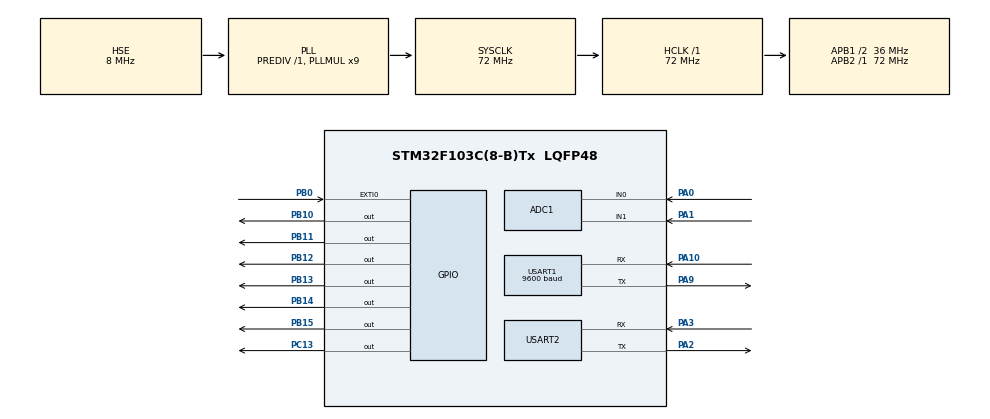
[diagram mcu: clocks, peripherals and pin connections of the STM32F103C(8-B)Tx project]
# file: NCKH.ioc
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ADC1.Channel-0\#ChannelRegularConversion=ADC_CHANNEL_0
ADC1.ContinuousConvMode=DISABLE
ADC1.NbrOfConversionFlag=1
ADC1.Rank-0\#ChannelRegularConversion=1
ADC1.SamplingTime-0\#ChannelRegularConversion=ADC_SAMPLETIME_239CYCLES_5
ADC1.master=1
Mcu.Family=STM32F1
Mcu.Name=STM32F103C(8-B)Tx
Mcu.Package=LQFP48
NVIC.EXTI0_IRQn=true\:0\:0\:false\:false\:true\:true\:true
NVIC.PriorityGroup=NVIC_PRIORITYGROUP_4
NVIC.USART1_IRQn=true\:0\:0\:false\:false\:true\:true\:true
PA0-WKUP.Signal=ADCx_IN0
PA1.Signal=ADCx_IN1
PA10.Mode=Asynchronous
PA10.Signal=USART1_RX
PA13.Mode=Serial_Wire
PA13.Signal=SYS_JTMS-SWDIO
PA14.Mode=Serial_Wire
PA14.Signal=SYS_JTCK-SWCLK
PA2.Mode=Asynchronous
PA2.Signal=USART2_TX
PA3.Mode=Asynchronous
PA3.Signal=USART2_RX
PA9.Mode=Asynchronous
PA9.Signal=USART1_TX
PB0.GPIO_ModeDefaultEXTI=GPIO_MODE_IT_FALLING
PB0.GPIO_PuPd=GPIO_PULLUP
PB0.Signal=GPXTI0
PB10.Signal=GPIO_Output
PB11.Signal=GPIO_Output
PB12.Signal=GPIO_Output
PB13.Signal=GPIO_Output
PB14.PinState=GPIO_PIN_RESET
PB14.Signal=GPIO_Output
PB15.Signal=GPIO_Output
PC13-TAMPER-RTC.PinState=GPIO_PIN_SET
PC13-TAMPER-RTC.Signal=GPIO_Output
PD0-OSC_IN.Mode=HSE-External-Oscillator
PD0-OSC_IN.Signal=RCC_OSC_IN
PD1-OSC_OUT.Mode=HSE-External-Oscillator
PD1-OSC_OUT.Signal=RCC_OSC_OUT
ProjectManager.HeapSize=0x200
ProjectManager.StackSize=0x400
ProjectManager.TargetToolchain=STM32CubeIDE
RCC.ADCPresc=RCC_ADCPCLK2_DIV6
RCC.AHBFreq_Value=72000000
RCC.APB1CLKDivider=RCC_HCLK_DIV2
RCC.APB1Freq_Value=36000000
RCC.APB1TimFreq_Value=72000000
RCC.APB2Freq_Value=72000000
RCC.APB2TimFreq_Value=72000000
RCC.HCLKFreq_Value=72000000
RCC.PLLMUL=RCC_PLL_MUL9
RCC.PLLSourceVirtual=RCC_PLLSOURCE_HSE
RCC.SYSCLKFreq_VALUE=72000000
RCC.SYSCLKSource=RCC_SYSCLKSOURCE_PLLCLK
RCC.USBFreq_Value=72000000
SH.ADCx_IN0.0=ADC1_IN0,IN0
SH.ADCx_IN1.0=ADC1_IN1,IN1
TIM1.Prescaler=71
USART1.BaudRate=9600
USART1.VirtualMode=VM_ASYNC
USART2.VirtualMode=VM_ASYNC
VP_TIM1_VS_ClockSourceINT.Mode=Internal
board=custom

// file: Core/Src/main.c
/* USER CODE BEGIN Header */
/**
  ******************************************************************************
  * @file           : main.c
  * @brief          : Main program body
  ******************************************************************************
  * @attention
  *
  * <h2><center>&copy; Copyright (c) 2025 STMicroelectronics.
  * All rights reserved.</center></h2>
  *
  * This software component is licensed by ST under BSD 3-Clause license,
  * the "License"; You may not use this file except in compliance with the
  * License. You may obtain a copy of the License at:
  *                        opensource.org/licenses/BSD-3-Clause
  *
  ******************************************************************************
  */
/* USER CODE END Header */
#include "main.h"

/* USER CODE BEGIN Includes */

#include "string.h"
#include "stdio.h"
#include "DHT11.h"

/* USER CODE END Includes */

/* USER CODE BEGIN PD */

#define DHT11_PORT 		GPIOB
#define DHT11_PIN  		GPIO_PIN_14

#define RELAY1_PORT 	GPIOB
#define RELAY1_PIN  	GPIO_PIN_12 	// Van Zone 1

#define RELAY2_PORT 	GPIOB
#define RELAY2_PIN  	GPIO_PIN_13 	// Van Zone 2

#define RELAY3_PORT 	GPIOB
#define RELAY3_PIN  	GPIO_PIN_15 	// Pump

#define LED_PORT 		GPIOC
#define LED_PIN  		GPIO_PIN_13    	// Test Debug

#define RELAY_ON   		GPIO_PIN_RESET
#define RELAY_OFF  		GPIO_PIN_SET

#define LORA_AUX_PORT 	GPIOB
#define LORA_AUX_PIN  	GPIO_PIN_0

#define LORA_M0_PORT 	GPIOB
#define LORA_M0_PIN  	GPIO_PIN_10

#define LORA_M1_PORT 	GPIOB
#define LORA_M1_PIN  	GPIO_PIN_11

/* USER CODE END PD */

/* USER CODE BEGIN PM */

#define FRAME_TIMEOUT_MS 	1000

/* USER CODE END PM */

ADC_HandleTypeDef hadc1;

TIM_HandleTypeDef htim1;

UART_HandleTypeDef huart1;
UART_HandleTypeDef huart2;

/* USER CODE BEGIN PV */

DHT11_DataTypedef DHT11;

uint16_t temp = 0, humi = 0;
float sm1 = 0, sm2 = 0;  		// Soil Moisture
uint16_t adc_val;        		// ADC default: 12 bit

uint32_t last_readSoil = 0;
uint32_t last_readDHT = 0;
uint32_t last_cmd_time = 0;

char tx_buff[128];
char ack_buff[40];
char rx_buff[128];
uint8_t rx_data;

volatile uint8_t idx = 0;
volatile uint8_t frame_receive = 0;
volatile uint8_t frame_ready = 0;

//======== NODE STATE MACHINE ========

uint32_t wakeStart = 0;
volatile uint8_t lora_wakeup_flag = 0;

/* USER CODE END PV */

void SystemClock_Config(void);
static void MX_GPIO_Init(void);
static void MX_TIM1_Init(void);
static void MX_USART1_UART_Init(void);
static void MX_ADC1_Init(void);
static void MX_USART2_UART_Init(void);
/* USER CODE BEGIN PFP */

static void Pump_Update(void);

static void Process_Frame(char *frame);
static void Process_Request(char *frame);
static void Process_Command(char *cmd);
static uint8_t Wait_For_Frame(uint32_t timeout);

static void send_Data(uint32_t seq, float t, float h, float sm1, float sm2);
static void send_ACK(uint32_t seq);

static uint16_t read_ADC(uint32_t channel);
static void read_Sensors(void);

static void Enter_Stop_Mode(void);

static uint8_t LoRa_WaitReady(uint32_t timeout);
static void LoRa_SetNormalMode(void);
static void LoRa_SetPowerSavingMode(void);

static void Debug_Print(const char *msg);

/* USER CODE END PFP */

int main(void)
{

  /* MCU Configuration--------------------------------------------------------*/

  /* Reset of all peripherals, Initializes the Flash interface and the Systick. */
  HAL_Init();

  /* Configure the system clock */
  SystemClock_Config();

  /* Initialize all configured peripherals */
  MX_GPIO_Init();
  MX_TIM1_Init();
  MX_USART1_UART_Init();
  MX_ADC1_Init();
  MX_USART2_UART_Init();
  /* USER CODE BEGIN 2 */

  DHT11_Init(&DHT11, &htim1, DHT11_PORT, DHT11_PIN);

  HAL_UART_Receive_IT(&huart1, &rx_data, 1);

  Debug_Print("\r\n====================\r\n");
  Debug_Print("STM32 NODE START\r\n");
  Debug_Print("====================\r\n");

  /* USER CODE END 2 */

  /* Infinite loop */
  /* USER CODE BEGIN WHILE */
  while (1)
  {
	    /* =====================================
	     * 1. E32 → POWER-SAVING
	     * ===================================== */

	  	Debug_Print("[POWER] E32 -> POWER SAVING\r\n");
	    LoRa_SetPowerSavingMode();

	    if (!LoRa_WaitReady(100))
	    {
	    	/* Nếu E32 chưa ready, không được STOP */
	        Debug_Print("[ERROR] E32 POWER SAVING NOT READY\r\n");
	        continue;
	    }

	    /* =====================================
	     * 2. STM32 → STOP
	     * ===================================== */

	    Debug_Print("[POWER] Enter STM32 STOP\r\n");
	    Enter_Stop_Mode();

	    /* =====================================
	     * 3. AUX WAKE
	     * ===================================== */

	    if (!lora_wakeup_flag)
	    {
	    	Debug_Print("[WAKE] Wake source NOT LoRa AUX\r\n");
	        continue;
	    }

	    Debug_Print("[AUX] LoRa AUX wake detected\r\n");

	    /* =====================================
	     * 4. WAIT LoRa UART FRAME
	     * (E32 TXD → STM32 USART1)
	     * ===================================== */

	    if (!Wait_For_Frame(FRAME_TIMEOUT_MS))
	    {
	        /* Wake nhưng không nhận đủ frame */
	    	Debug_Print("[ERROR] UART1 FRAME TIMEOUT\r\n");
	        continue;
	    }

	    Debug_Print("[UART1] Frame received: ");
	    Debug_Print(rx_buff);
	    Debug_Print("\r\n");

	    /* =====================================
	     * 5. PROCESS REQ / CMD
	     * ===================================== */

	    frame_ready = 0;
	    Process_Frame(rx_buff);

	    /* Sau đó vòng while chạy lại và STM32 STOP */

    /* USER CODE END WHILE */

  }
}

void SystemClock_Config(void)
{
  RCC_OscInitTypeDef RCC_OscInitStruct = {0};
  RCC_ClkInitTypeDef RCC_ClkInitStruct = {0};
  RCC_PeriphCLKInitTypeDef PeriphClkInit = {0};

  /** Initializes the RCC Oscillators according to the specified parameters
  * in the RCC_OscInitTypeDef structure.
  */
  RCC_OscInitStruct.OscillatorType = RCC_OSCILLATORTYPE_HSE;
  RCC_OscInitStruct.HSEState = RCC_HSE_ON;
  RCC_OscInitStruct.HSEPredivValue = RCC_HSE_PREDIV_DIV1;
  RCC_OscInitStruct.HSIState = RCC_HSI_ON;
  RCC_OscInitStruct.PLL.PLLState = RCC_PLL_ON;
  RCC_OscInitStruct.PLL.PLLSource = RCC_PLLSOURCE_HSE;
  RCC_OscInitStruct.PLL.PLLMUL = RCC_PLL_MUL9;
  if (HAL_RCC_OscConfig(&RCC_OscInitStruct) != HAL_OK)
  {
    Error_Handler();
  }
  /** Initializes the CPU, AHB and APB buses clocks
  */
  RCC_ClkInitStruct.ClockType = RCC_CLOCKTYPE_HCLK|RCC_CLOCKTYPE_SYSCLK
                              |RCC_CLOCKTYPE_PCLK1|RCC_CLOCKTYPE_PCLK2;
  RCC_ClkInitStruct.SYSCLKSource = RCC_SYSCLKSOURCE_PLLCLK;
  RCC_ClkInitStruct.AHBCLKDivider = RCC_SYSCLK_DIV1;
  RCC_ClkInitStruct.APB1CLKDivider = RCC_HCLK_DIV2;
  RCC_ClkInitStruct.APB2CLKDivider = RCC_HCLK_DIV1;

  if (HAL_RCC_ClockConfig(&RCC_ClkInitStruct, FLASH_LATENCY_2) != HAL_OK)
  {
    Error_Handler();
  }
  PeriphClkInit.PeriphClockSelection = RCC_PERIPHCLK_ADC;
  PeriphClkInit.AdcClockSelection = RCC_ADCPCLK2_DIV6;
  if (HAL_RCCEx_PeriphCLKConfig(&PeriphClkInit) != HAL_OK)
  {
    Error_Handler();
  }
}

static void MX_ADC1_Init(void)
{

  ADC_ChannelConfTypeDef sConfig = {0};

  /** Common config
  */
  hadc1.Instance = ADC1;
  hadc1.Init.ScanConvMode = ADC_SCAN_DISABLE;
  hadc1.Init.ContinuousConvMode = DISABLE;
  hadc1.Init.DiscontinuousConvMode = DISABLE;
  hadc1.Init.ExternalTrigConv = ADC_SOFTWARE_START;
  hadc1.Init.DataAlign = ADC_DATAALIGN_RIGHT;
  hadc1.Init.NbrOfConversion = 1;
  if (HAL_ADC_Init(&hadc1) != HAL_OK)
  {
    Error_Handler();
  }
  /** Configure Regular Channel
  */
  sConfig.Channel = ADC_CHANNEL_0;
  sConfig.Rank = ADC_REGULAR_RANK_1;
  sConfig.SamplingTime = ADC_SAMPLETIME_239CYCLES_5;
  if (HAL_ADC_ConfigChannel(&hadc1, &sConfig) != HAL_OK)
  {
    Error_Handler();
  }

}

static void MX_TIM1_Init(void)
{

  TIM_ClockConfigTypeDef sClockSourceConfig = {0};
  TIM_MasterConfigTypeDef sMasterConfig = {0};

  htim1.Instance = TIM1;
  htim1.Init.Prescaler = 71;
  htim1.Init.CounterMode = TIM_COUNTERMODE_UP;
  htim1.Init.Period = 65535;
  htim1.Init.ClockDivision = TIM_CLOCKDIVISION_DIV1;
  htim1.Init.RepetitionCounter = 0;
  htim1.Init.AutoReloadPreload = TIM_AUTORELOAD_PRELOAD_DISABLE;
  if (HAL_TIM_Base_Init(&htim1) != HAL_OK)
  {
    Error_Handler();
  }
  sClockSourceConfig.ClockSource = TIM_CLOCKSOURCE_INTERNAL;
  if (HAL_TIM_ConfigClockSource(&htim1, &sClockSourceConfig) != HAL_OK)
  {
    Error_Handler();
  }
  sMasterConfig.MasterOutputTrigger = TIM_TRGO_RESET;
  sMasterConfig.MasterSlaveMode = TIM_MASTERSLAVEMODE_DISABLE;
  if (HAL_TIMEx_MasterConfigSynchronization(&htim1, &sMasterConfig) != HAL_OK)
  {
    Error_Handler();
  }

}

static void MX_USART1_UART_Init(void)
{

  huart1.Instance = USART1;
  huart1.Init.BaudRate = 9600;
  huart1.Init.WordLength = UART_WORDLENGTH_8B;
  huart1.Init.StopBits = UART_STOPBITS_1;
  huart1.Init.Parity = UART_PARITY_NONE;
  huart1.Init.Mode = UART_MODE_TX_RX;
  huart1.Init.HwFlowCtl = UART_HWCONTROL_NONE;
  huart1.Init.OverSampling = UART_OVERSAMPLING_16;
  if (HAL_UART_Init(&huart1) != HAL_OK)
  {
    Error_Handler();
  }

}

static void MX_USART2_UART_Init(void)
{

  huart2.Instance = USART2;
  huart2.Init.BaudRate = 115200;
  huart2.Init.WordLength = UART_WORDLENGTH_8B;
  huart2.Init.StopBits = UART_STOPBITS_1;
  huart2.Init.Parity = UART_PARITY_NONE;
  huart2.Init.Mode = UART_MODE_TX_RX;
  huart2.Init.HwFlowCtl = UART_HWCONTROL_NONE;
  huart2.Init.OverSampling = UART_OVERSAMPLING_16;
  if (HAL_UART_Init(&huart2) != HAL_OK)
  {
    Error_Handler();
  }

}

static void MX_GPIO_Init(void)
{
  GPIO_InitTypeDef GPIO_InitStruct = {0};

  /* GPIO Ports Clock Enable */
  __HAL_RCC_GPIOC_CLK_ENABLE();
  __HAL_RCC_GPIOD_CLK_ENABLE();
  __HAL_RCC_GPIOA_CLK_ENABLE();
  __HAL_RCC_GPIOB_CLK_ENABLE();

  /*Configure GPIO pin Output Level */
  HAL_GPIO_WritePin(GPIOC, GPIO_PIN_13, GPIO_PIN_SET);

  /*Configure GPIO pin Output Level */

/*  HAL_GPIO_WritePin(
      RELAY1_PORT,
      RELAY1_PIN,
      RELAY_OFF
  );

  HAL_GPIO_WritePin(
      RELAY2_PORT,
      RELAY2_PIN,
      RELAY_OFF
  );

  HAL_GPIO_WritePin(
      RELAY3_PORT,
      RELAY3_PIN,
      RELAY_OFF
  );*/

  HAL_GPIO_WritePin(GPIOB, GPIO_PIN_10|GPIO_PIN_11|GPIO_PIN_12|GPIO_PIN_13
                          |GPIO_PIN_14|GPIO_PIN_15, GPIO_PIN_RESET);

  /*Configure GPIO pin : PC13 */
  GPIO_InitStruct.Pin = GPIO_PIN_13;
  GPIO_InitStruct.Mode = GPIO_MODE_OUTPUT_PP;
  GPIO_InitStruct.Pull = GPIO_NOPULL;
  GPIO_InitStruct.Speed = GPIO_SPEED_FREQ_LOW;
  HAL_GPIO_Init(GPIOC, &GPIO_InitStruct);

  /*Configure GPIO pin : PB0 */
  GPIO_InitStruct.Pin = GPIO_PIN_0;
  GPIO_InitStruct.Mode = GPIO_MODE_IT_FALLING;
  GPIO_InitStruct.Pull = GPIO_PULLUP;
  HAL_GPIO_Init(GPIOB, &GPIO_InitStruct);

  /*Configure GPIO pins : PB10 PB11 PB12 PB13
                           PB14 PB15 */
  GPIO_InitStruct.Pin = GPIO_PIN_10|GPIO_PIN_11|GPIO_PIN_12|GPIO_PIN_13
                          |GPIO_PIN_14|GPIO_PIN_15;
  GPIO_InitStruct.Mode = GPIO_MODE_OUTPUT_PP;
  GPIO_InitStruct.Pull = GPIO_NOPULL;
  GPIO_InitStruct.Speed = GPIO_SPEED_FREQ_LOW;
  HAL_GPIO_Init(GPIOB, &GPIO_InitStruct);

  /* EXTI interrupt init*/
  HAL_NVIC_SetPriority(EXTI0_IRQn, 0, 0);
  HAL_NVIC_EnableIRQ(EXTI0_IRQn);

}

/* USER CODE BEGIN 4 */

void HAL_GPIO_EXTI_Callback(uint16_t GPIO_Pin)
{
    if (GPIO_Pin == LORA_AUX_PIN)
    {
        lora_wakeup_flag = 1;
    }
}

void HAL_UART_RxCpltCallback(UART_HandleTypeDef *huart)
{
    if (huart->Instance == USART1)
    {
        char c = (char)rx_data;

        if (c == '<')
        {
            frame_receive = 1;
            idx = 0;
            memset(rx_buff, 0, sizeof(rx_buff));
            rx_buff[idx++] = c;
        }
        else if (frame_receive)
        {
        	if (idx < sizeof(rx_buff) - 1)
            {
            	rx_buff[idx++] = c;

                if (c == '>')
                {
                    rx_buff[idx] = '\0';
                    frame_receive = 0;
                    frame_ready = 1;
                }
            }
            else
            {
                /* Buffer full -> Reset */
                idx = 0;
                frame_receive = 0;
                memset(rx_buff, 0, sizeof(rx_buff));
            }
        }

        // Bật lại interrupt để tiếp tục nhận byte tiếp theo
        HAL_UART_Receive_IT(&huart1, &rx_data, 1);
    }
}

static void Pump_Update(void)
{
    uint8_t zone1 = HAL_GPIO_ReadPin(RELAY1_PORT, RELAY1_PIN);
    uint8_t zone2 = HAL_GPIO_ReadPin(RELAY2_PORT, RELAY2_PIN);

    if (zone1 == RELAY_ON || zone2 == RELAY_ON)
    {
        HAL_GPIO_WritePin(RELAY3_PORT, RELAY3_PIN, RELAY_ON);
    }
    else
    {
        HAL_GPIO_WritePin(RELAY3_PORT, RELAY3_PIN, RELAY_OFF);
    }
}

static void Process_Frame(char *frame)
{
    if (strstr(frame, "<REQ,") != NULL)
    {
        Debug_Print("[FRAME] TYPE = REQ\r\n");
        Process_Request(frame);
        return;
    }

    if (strstr(frame, "<CMD,") != NULL)
    {
        Debug_Print("[FRAME] TYPE = CMD\r\n");
        Process_Command(frame);
        return;
    }

    Debug_Print("[ERROR] UNKNOWN FRAME\r\n");
}

static void Process_Request(char *frame)
{
    unsigned long seq = 0;

    Debug_Print("[REQ] Parse frame: ");
    Debug_Print(frame);
    Debug_Print("\r\n");

    if (sscanf(frame, "<REQ,SEQ=%lu>", &seq) == 1)
    {
    	Debug_Print("[REQ] Valid\r\n");

        /* Chỉ read sensors khi Master yêu cầu */
        Debug_Print("[SENSOR] Start read\r\n");
        read_Sensors();
        Debug_Print("[SENSOR] Read complete\r\n");

        send_Data((uint32_t)seq, temp, humi, sm1, sm2);
    }
    else
    {
        Debug_Print("[ERROR] INVALID REQ\r\n");
    }
}

static void Process_Command(char *cmd)
{
    unsigned long seq = 0;

    Debug_Print("[CMD] Parse frame: ");
    Debug_Print(cmd);
    Debug_Print("\r\n");

    char *seq_ptr = strstr(cmd, "SEQ=");

    if (seq_ptr == NULL)
    {
        Debug_Print("[ERROR] CMD NO SEQ\r\n");
        return;
    }

    if (sscanf(seq_ptr, "SEQ=%lu", &seq) != 1)
    {
        Debug_Print("[ERROR] CMD INVALID SEQ\r\n");
        return;
    }

    Debug_Print("[CMD] Valid\r\n");

    /* =====================================
     * ZONE 1
     * ===================================== */

    if (strstr(cmd, "ZONE=1") != NULL)
    {
    	if (strstr(cmd, "IRR=ON") != NULL)
        {
    		Debug_Print("[RELAY] ZONE1 -> ON\r\n");
            HAL_GPIO_WritePin(LED_PORT, LED_PIN, GPIO_PIN_RESET);
            HAL_GPIO_WritePin(RELAY1_PORT, RELAY1_PIN, RELAY_ON);
            Pump_Update();
        }
        else if (strstr(cmd, "IRR=OFF") != NULL)
        {
        	Debug_Print("[RELAY] ZONE1 -> OFF\r\n");
            HAL_GPIO_WritePin(LED_PORT, LED_PIN, GPIO_PIN_SET);
            HAL_GPIO_WritePin(RELAY1_PORT, RELAY1_PIN, RELAY_OFF);
            Pump_Update();
        }
        else
        {
            return;
        }
    }

    /* =====================================
     * ZONE 2
     * ===================================== */

    else if (strstr(cmd, "ZONE=2") != NULL)
    {
        if (strstr(cmd, "IRR=ON") != NULL)
        {
        	Debug_Print("[RELAY] ZONE2 -> ON\r\n");
            HAL_GPIO_WritePin(LED_PORT, LED_PIN, GPIO_PIN_RESET);
            HAL_GPIO_WritePin(RELAY2_PORT, RELAY2_PIN, RELAY_ON);
            Pump_Update();
        }
        else if (strstr(cmd, "IRR=OFF") != NULL)
        {
        	Debug_Print("[RELAY] ZONE2 -> OFF\r\n");
            HAL_GPIO_WritePin(LED_PORT, LED_PIN, GPIO_PIN_SET);
            HAL_GPIO_WritePin(RELAY2_PORT, RELAY2_PIN, RELAY_OFF);
            Pump_Update();
        }
        else
        {
            return;
        }
    }
    else
    {
        return;
    }

    /* ACK chỉ được gửi sau khi COMMAND đã được xử lý */
    Debug_Print("[CMD] Send ACK\r\n");
    send_ACK((uint32_t)seq);
}

static uint8_t Wait_For_Frame(uint32_t timeout)
{
    uint32_t start = HAL_GetTick();

    while (!frame_ready)
    {
        if (HAL_GetTick() - start >= timeout)
        {
            return 0;
        }
    }

    return 1;
}

static void send_Data(uint32_t seq, float t, float h, float sm1, float sm2)
{
	/* Chuyển E32 từ Power-Saving Mode -> Normal Mode để TX DATA */
	Debug_Print("[LORA] Switch E32 -> NORMAL for Data\r\n");
	LoRa_SetNormalMode();

    if (!LoRa_WaitReady(100))
    {
        Debug_Print("[ERROR] E32 NORMAL NOT READY\r\n");
        return;
    }

    snprintf(tx_buff, sizeof(tx_buff), "<DATA,SEQ=%lu,T=%.2f,H=%.2f,SM1=%.2f,SM2=%.2f>", (unsigned long)seq, t, h, sm1, sm2);

    Debug_Print("[LORA TX] ");
    Debug_Print(tx_buff);
    Debug_Print("\r\n");

    HAL_UART_Transmit(&huart1, (uint8_t *)tx_buff, strlen(tx_buff), 500);

    /* Wait E32 gửi RF xong */
    if (LoRa_WaitReady(500))
    {
        Debug_Print("[LORA TX] RF Transmission Complete\r\n");
    }
    else
    {
        Debug_Print("[ERROR] E32 TX TIMEOUT\r\n");
    }
}

static void send_ACK(uint32_t seq)
{
	Debug_Print("[LORA] Switch E32 -> NORMAL for ACK\r\n");
    LoRa_SetNormalMode();

    if (!LoRa_WaitReady(100))
    {
        Debug_Print("[ERROR] E32 NORMAL NOT READY\r\n");
        return;
    }

    snprintf(ack_buff, sizeof(ack_buff), "<ACK,SEQ=%lu>", (unsigned long)seq);

    Debug_Print("[LORA TX] ");
    Debug_Print(ack_buff);
    Debug_Print("\r\n");

    HAL_UART_Transmit(&huart1, (uint8_t *)ack_buff, strlen(ack_buff), 500);

    if (LoRa_WaitReady(500))
    {
        Debug_Print("[LORA TX] ACK RF COMPLETE\r\n");
    }
    else
    {
        Debug_Print("[ERROR] ACK RF TIMEOUT\r\n");
    }
}

static uint16_t read_ADC(uint32_t channel)
{
    ADC_ChannelConfTypeDef sConfig = {0};

    sConfig.Channel = channel;
    sConfig.Rank = ADC_REGULAR_RANK_1;
    sConfig.SamplingTime = ADC_SAMPLETIME_71CYCLES_5;
    HAL_ADC_ConfigChannel(&hadc1, &sConfig);

	HAL_ADC_Start(&hadc1);
	HAL_ADC_PollForConversion(&hadc1, 100);  // Wait ADC Conversion completed.
	adc_val = HAL_ADC_GetValue(&hadc1);
	HAL_ADC_Stop(&hadc1);
	return adc_val;
}

static void read_Sensors(void)
{
    /* SOIL MOISTURE */
    sm1 = 100 - ((read_ADC(ADC_CHANNEL_0) / 4095.0) * 100);
    sm2 = 100 - ((read_ADC(ADC_CHANNEL_1) / 4095.0) * 100);

    /* DHT11 */
    if (DHT11_Read_Data(&DHT11))
    {
        temp = DHT11.Temperature;
        humi = DHT11.Humidity;
    }
}

static void Enter_Stop_Mode(void)
{
    lora_wakeup_flag = 0;

    /* Reset parser để tránh còn frame cũ trước STOP */
    idx = 0;
    frame_receive = 0;
    frame_ready = 0;

    memset(rx_buff, 0, sizeof(rx_buff));

    /* Restart UART RX Interrupt */
    HAL_UART_AbortReceive(&huart1);
    HAL_UART_Receive_IT(&huart1, &rx_data, 1);

    /* Clear EXTI pending cũ để tránh vừa vào STOP đã wake */
    __HAL_GPIO_EXTI_CLEAR_IT(LORA_AUX_PIN);

    /* Clear NVIC pending của EXTI0 */
    HAL_NVIC_ClearPendingIRQ(EXTI0_IRQn);

    /* Clear Power Wakeup Flag nếu còn */
    __HAL_PWR_CLEAR_FLAG(PWR_FLAG_WU);

    /* Suspend SysTick (Tạm dừng) để SysTick không đánh thức MCU liên tục 1ms */
    HAL_SuspendTick();

    /* STOP MODE (WFI = Wait For Interrupt) */
    HAL_PWR_EnterSTOPMode(PWR_LOWPOWERREGULATOR_ON, PWR_STOPENTRY_WFI);

    /* STM32 wake -> Restore system clock */
    SystemClock_Config();

    /* Cho HAL_GetTick() chạy lại */
    HAL_ResumeTick();
}

static uint8_t LoRa_WaitReady(uint32_t timeout)
{
    uint32_t start = HAL_GetTick();

    /* Wait E32 Busy(0) -> Ready(1)*/
    while (HAL_GPIO_ReadPin(LORA_AUX_PORT, LORA_AUX_PIN) == GPIO_PIN_RESET)
    {
        if (HAL_GetTick() - start >= timeout)
        {
            return 0;
        }
    }

    return 1;
}

static void LoRa_SetNormalMode(void)
{
    /* M1 = 0, M0 = 0 */
    HAL_GPIO_WritePin(LORA_M1_PORT, LORA_M1_PIN, GPIO_PIN_RESET);
    HAL_GPIO_WritePin(LORA_M0_PORT, LORA_M0_PIN, GPIO_PIN_RESET);

    HAL_Delay(5);

}

static void LoRa_SetPowerSavingMode(void)
{
    /* M1 = 1, M0 = 0 */
    HAL_GPIO_WritePin(LORA_M1_PORT, LORA_M1_PIN, GPIO_PIN_SET);
    HAL_GPIO_WritePin(LORA_M0_PORT, LORA_M0_PIN, GPIO_PIN_RESET);

    HAL_Delay(5);
}

static void Debug_Print(const char *msg)
{
    HAL_UART_Transmit(&huart2, (uint8_t *)msg, strlen(msg), 100);
}

/* USER CODE END 4 */

void Error_Handler(void)
{
  __disable_irq();
  while (1)
  {
  }
}

/************************ (C) COPYRIGHT STMicroelectronics *****END OF FILE****/
